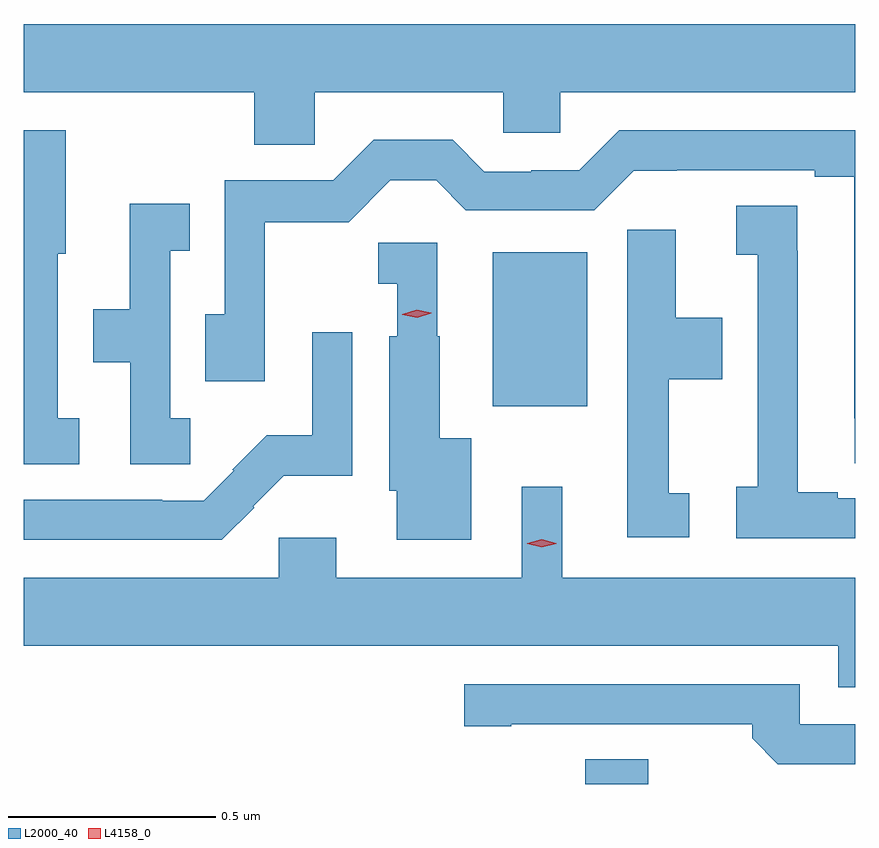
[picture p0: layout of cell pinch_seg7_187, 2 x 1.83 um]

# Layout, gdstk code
import gdstk
lib = gdstk.Library(unit=1e-6, precision=1e-09)
def R(c, l, rs):  # rectangles x0, y0, x1, y1
    for r in rs: c.add(gdstk.rectangle(r[:2], r[2:], *l))
def P(c, l, *ps):  # polygons
    for p in ps: c.add(gdstk.Polygon(p, *l))
L2000_40 = (2000, 40)
L4158_0 = (4158, 0)

pinch_seg7_187 = lib.new_cell('pinch_seg7_187')
R(pinch_seg7_187, L2000_40, [(1083.284,1032.252,1083.436,1032.311), (1083.062,1033.16,1083.289,1033.531)])
P(pinch_seg7_187, L2000_40, [(1082.634,1033.916),(1083.087,1033.916),(1083.087,1033.818),(1083.225,1033.818),(1083.225,1033.916),(1083.934,1033.916),(1083.934,1034.08),(1081.934,1034.08),(1081.934,1033.916),(1082.488,1033.916),(1082.488,1033.789),(1082.634,1033.789)],
  [(1082.068,1033.132),(1082.016,1033.132),(1082.016,1033.527),(1082.035,1033.527),(1082.035,1033.824),(1081.934,1033.824),(1081.934,1033.021),(1082.068,1033.021)],
  [(1083.934,1033.824),(1083.366,1033.824),(1083.27,1033.728),(1083.155,1033.728),(1083.155,1033.725),(1083.042,1033.725),(1082.966,1033.801),(1082.776,1033.801),(1082.679,1033.704),(1082.418,1033.704),(1082.418,1033.382),(1082.371,1033.382),(1082.371,1033.221),(1082.514,1033.221),(1082.514,1033.603),(1082.716,1033.603),(1082.816,1033.704),(1082.926,1033.704),(1082.997,1033.632),(1083.306,1033.632),(1083.401,1033.727),(1083.505,1033.727),(1083.505,1033.728),(1083.836,1033.728),(1083.836,1033.713),(1083.932,1033.713),(1083.932,1033.132),(1083.933,1033.132),(1083.933,1033.024),(1083.934,1033.024)],
  [(1082.335,1033.132),(1082.286,1033.132),(1082.286,1033.535),(1082.333,1033.535),(1082.333,1033.648),(1082.189,1033.648),(1082.189,1033.394),(1082.101,1033.394),(1082.101,1033.266),(1082.19,1033.266),(1082.19,1033.021),(1082.335,1033.021)],
  [(1083.934,1032.939),(1083.892,1032.939),(1083.892,1032.954),(1083.796,1032.954),(1083.796,1033.535),(1083.795,1033.535),(1083.795,1033.643),(1083.648,1033.643),(1083.648,1033.525),(1083.699,1033.525),(1083.699,1032.967),(1083.648,1032.967),(1083.648,1032.843),(1083.934,1032.843)],
  [(1083.535,1032.951),(1083.485,1032.951),(1083.485,1033.226),(1083.614,1033.226),(1083.614,1033.374),(1083.502,1033.374),(1083.502,1033.585),(1083.386,1033.585),(1083.386,1032.846),(1083.535,1032.846)],
  [(1083.01,1033.084),(1082.935,1033.084),(1082.935,1033.329),(1082.929,1033.329),(1082.929,1033.554),(1082.787,1033.554),(1082.787,1033.455),(1082.832,1033.455),(1082.832,1033.329),(1082.813,1033.329),(1082.813,1032.957),(1082.831,1032.957),(1082.831,1032.839),(1083.01,1032.839)],
  [(1082.488,1032.917),(1082.486,1032.92),(1082.559,1032.993),(1082.724,1032.993),(1082.724,1033.339),(1082.628,1033.339),(1082.628,1033.091),(1082.519,1033.091),(1082.436,1033.008),(1082.439,1033.005),(1082.367,1032.933),(1082.267,1032.933),(1082.267,1032.936),(1081.934,1032.936),(1081.934,1032.84),(1082.41,1032.84)],
  [(1083.934,1032.748),(1083.229,1032.748),(1083.229,1032.967),(1083.132,1032.967),(1083.132,1032.748),(1082.686,1032.748),(1082.686,1032.844),(1082.547,1032.844),(1082.547,1032.748),(1081.934,1032.748),(1081.934,1032.584),(1083.893,1032.584),(1083.893,1032.485),(1083.934,1032.485)],
  [(1083.934,1032.396),(1083.801,1032.396),(1083.801,1032.492),(1082.994,1032.492),(1082.994,1032.391),(1083.106,1032.391),(1083.106,1032.396),(1083.686,1032.396),(1083.686,1032.362),(1083.747,1032.3),(1083.934,1032.3)])
P(pinch_seg7_187, L4158_0, [(1083.18,1032.821),(1083.145,1032.83),(1083.145,1032.831),(1083.145,1032.831),(1083.18,1032.841),(1083.215,1032.831),(1083.215,1032.831),(1083.215,1032.83)],
  [(1082.88,1033.373),(1082.845,1033.381),(1082.844,1033.381),(1082.845,1033.382),(1082.879,1033.393),(1082.914,1033.385),(1082.914,1033.384),(1082.914,1033.384)])

lib.write_gds('pinch_seg7_187.gds')
